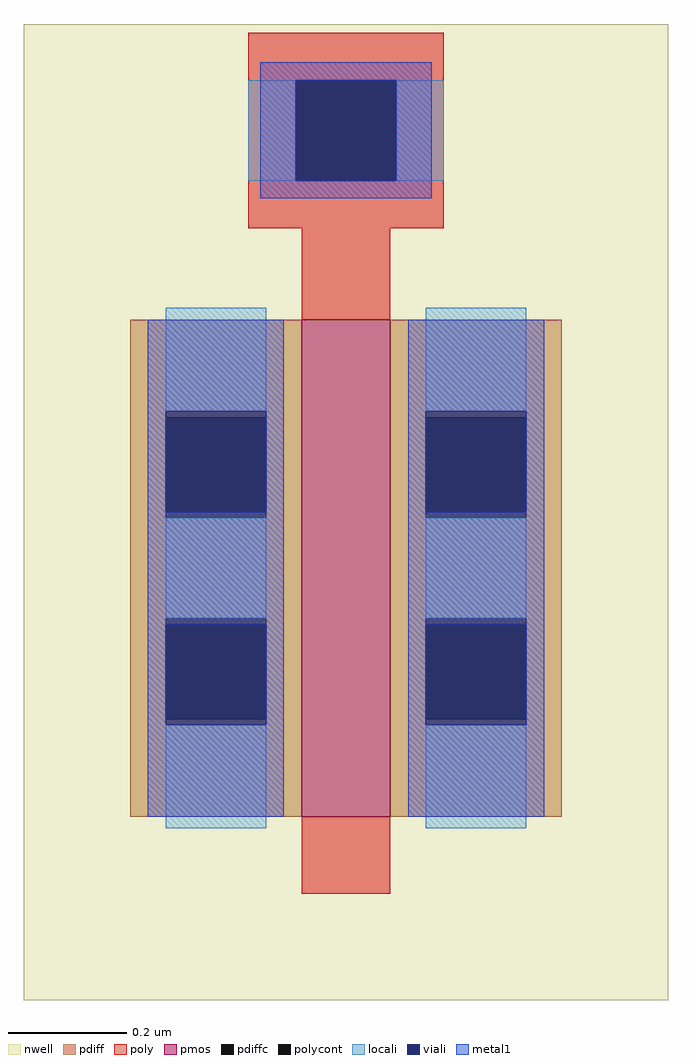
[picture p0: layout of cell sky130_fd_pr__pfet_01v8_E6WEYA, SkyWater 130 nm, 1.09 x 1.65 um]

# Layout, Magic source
magic
tech sky130A
magscale 1 2
<< nwell >>
rect -109 -182 109 148
<< pmos >>
rect -15 -120 15 48
<< pdiff >>
rect -73 15 -15 48
rect -73 -19 -61 15
rect -27 -19 -15 15
rect -73 -53 -15 -19
rect -73 -87 -61 -53
rect -27 -87 -15 -53
rect -73 -120 -15 -87
rect 15 15 73 48
rect 15 -19 27 15
rect 61 -19 73 15
rect 15 -53 73 -19
rect 15 -87 27 -53
rect 61 -87 73 -53
rect 15 -120 73 -87
<< pdiffc >>
rect -61 -19 -27 15
rect -61 -87 -27 -53
rect 27 -19 61 15
rect 27 -87 61 -53
<< poly >>
rect -33 129 33 145
rect -33 95 -17 129
rect 17 95 33 129
rect -33 79 33 95
rect -15 48 15 79
rect -15 -146 15 -120
<< polycont >>
rect -17 95 17 129
<< locali >>
rect -33 95 -17 129
rect 17 95 33 129
rect -61 17 -27 52
rect -61 -53 -27 -19
rect -61 -124 -27 -89
rect 27 17 61 52
rect 27 -53 61 -19
rect 27 -124 61 -89
<< viali >>
rect -17 95 17 129
rect -61 15 -27 17
rect -61 -17 -27 15
rect -61 -87 -27 -55
rect -61 -89 -27 -87
rect 27 15 61 17
rect 27 -17 61 15
rect 27 -87 61 -55
rect 27 -89 61 -87
<< metal1 >>
rect -29 129 29 135
rect -29 95 -17 129
rect 17 95 29 129
rect -29 89 29 95
rect -67 17 -21 48
rect -67 -17 -61 17
rect -27 -17 -21 17
rect -67 -55 -21 -17
rect -67 -89 -61 -55
rect -27 -89 -21 -55
rect -67 -120 -21 -89
rect 21 17 67 48
rect 21 -17 27 17
rect 61 -17 67 17
rect 21 -55 67 -17
rect 21 -89 27 -55
rect 61 -89 67 -55
rect 21 -120 67 -89
<< end >>
